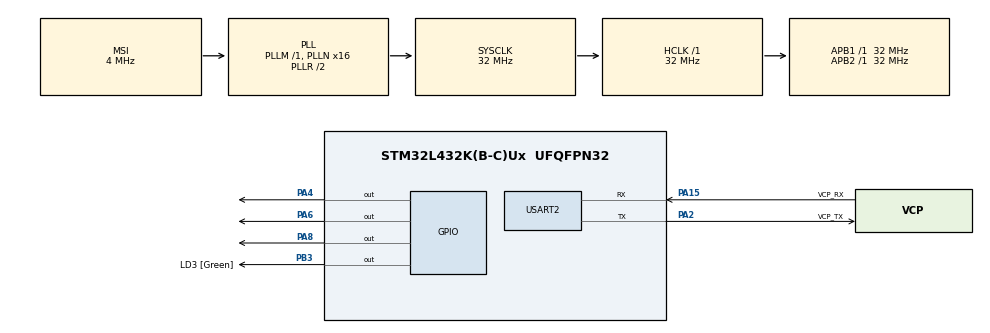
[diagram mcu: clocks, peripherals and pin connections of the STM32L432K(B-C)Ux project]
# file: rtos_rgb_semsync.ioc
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FREERTOS.BinarySemaphores01=sem_RGBLED_sync,Dynamic,NULL
FREERTOS.Tasks01=task_blink_r,24,128,blink_red,Default,NULL,Dynamic,NULL,NULL;task_blink_g,25,128,blink_green,Default,NULL,Dynamic,NULL,NULL;task_blink_b,26,128,blink_blue,Default,NULL,Dynamic,NULL,NULL
FREERTOS.configENABLE_FPU=1
FREERTOS.configUSE_NEWLIB_REENTRANT=1
Mcu.Family=STM32L4
Mcu.Name=STM32L432K(B-C)Ux
Mcu.Package=UFQFPN32
NVIC.PriorityGroup=NVIC_PRIORITYGROUP_4
NVIC.TIM6_DAC_IRQn=true\:15\:0\:false\:false\:true\:false\:false\:true
NVIC.TimeBase=TIM6_DAC_IRQn
NVIC.TimeBaseIP=TIM6
NVIC.USART2_IRQn=true\:5\:0\:false\:false\:true\:true\:true\:true
PA0.GPIO_Label=MCO [High speed clock in]
PA0.Signal=RCC_CK_IN
PA13\ (JTMS-SWDIO).GPIO_Label=SWDIO
PA13\ (JTMS-SWDIO).Signal=SYS_JTMS-SWDIO
PA14\ (JTCK-SWCLK).GPIO_Label=SWCLK
PA14\ (JTCK-SWCLK).Signal=SYS_JTCK-SWCLK
PA15\ (JTDI).GPIO_Label=VCP_RX
PA15\ (JTDI).Mode=Asynchronous
PA15\ (JTDI).Signal=USART2_RX
PA2.GPIO_Label=VCP_TX
PA2.Mode=Asynchronous
PA2.Signal=USART2_TX
PA4.Signal=GPIO_Output
PA6.Signal=GPIO_Output
PA8.Signal=GPIO_Output
PB3\ (JTDO-TRACESWO).GPIO_Label=LD3 [Green]
PB3\ (JTDO-TRACESWO).Signal=GPIO_Output
PC14-OSC32_IN\ (PC14).Signal=RCC_OSC32_IN
PC15-OSC32_OUT\ (PC15).Signal=RCC_OSC32_OUT
ProjectManager.HeapSize=0x200
ProjectManager.StackSize=0x400
ProjectManager.TargetToolchain=STM32CubeIDE
RCC.AHBFreq_Value=32000000
RCC.APB1Freq_Value=32000000
RCC.APB1TimFreq_Value=32000000
RCC.APB2Freq_Value=32000000
RCC.APB2TimFreq_Value=32000000
RCC.CortexFreq_Value=32000000
RCC.HCLKFreq_Value=32000000
RCC.HSE_VALUE=8000000
RCC.HSI16_VALUE=16000000
RCC.HSI48_VALUE=48000000
RCC.HSI_VALUE=16000000
RCC.LSE_VALUE=32768
RCC.MSI_VALUE=4000000
RCC.PLLMUL=RCC_PLLMUL_4
RCC.PLLN=16
RCC.SYSCLKFreq_VALUE=32000000
RCC.SYSCLKSource=RCC_SYSCLKSOURCE_PLLCLK
RCC.VCOOutputFreq_Value=64000000
USART2.VirtualMode-Asynchronous=VM_ASYNC
VP_FREERTOS_VS_CMSIS_V2.Mode=CMSIS_V2
VP_SYS_VS_tim6.Mode=TIM6
board=NUCLEO-L432KC

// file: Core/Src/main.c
/* USER CODE BEGIN Header */
/**
 ******************************************************************************
 * @file           : main.c
 * @brief          : Main program body
 ******************************************************************************
 * @attention
 *
 * Copyright (c) 2022 STMicroelectronics.
 * All rights reserved.
 *
 * This software is licensed under terms that can be found in the LICENSE file
 * in the root directory of this software component.
 * If no LICENSE file comes with this software, it is provided AS-IS.
 *
 ******************************************************************************
 */
/* USER CODE END Header */
#include "main.h"
#include "cmsis_os.h"

/* USER CODE BEGIN PD */
#define USE_SEM
/* USER CODE END PD */

UART_HandleTypeDef huart2;

/* Definitions for task_blink_r */
osThreadId_t task_blink_rHandle;
const osThreadAttr_t task_blink_r_attributes = {
    .name = "task_blink_r",
    .stack_size = 128 * 4,
    .priority = (osPriority_t) osPriorityNormal,
};
/* Definitions for task_blink_g */
osThreadId_t task_blink_gHandle;
const osThreadAttr_t task_blink_g_attributes = {
    .name = "task_blink_g",
    .stack_size = 128 * 4,
    .priority = (osPriority_t) osPriorityNormal1,
};
/* Definitions for task_blink_b */
osThreadId_t task_blink_bHandle;
const osThreadAttr_t task_blink_b_attributes = {
    .name = "task_blink_b",
    .stack_size = 128 * 4,
    .priority = (osPriority_t) osPriorityNormal2,
};
/* Definitions for sem_RGBLED_sync */
osSemaphoreId_t sem_RGBLED_syncHandle;
const osSemaphoreAttr_t sem_RGBLED_sync_attributes = {
    .name = "sem_RGBLED_sync"
};

void SystemClock_Config(void);
static void MX_GPIO_Init(void);
static void MX_USART2_UART_Init(void);
void blink_red(void *argument);
void blink_green(void *argument);
void blink_blue(void *argument);

int main(void)
{

  /* MCU Configuration--------------------------------------------------------*/

  /* Reset of all peripherals, Initializes the Flash interface and the Systick. */
  HAL_Init();

  /* Configure the system clock */
  SystemClock_Config();

  /* Initialize all configured peripherals */
  MX_GPIO_Init();
  MX_USART2_UART_Init();
  /* USER CODE BEGIN 2 */
  HAL_GPIO_WritePin(GPIOA,GPIO_PIN_6,GPIO_PIN_SET);
  HAL_GPIO_WritePin(GPIOA,GPIO_PIN_8,GPIO_PIN_SET);
  HAL_GPIO_WritePin(GPIOA,GPIO_PIN_4,GPIO_PIN_SET);
  /* USER CODE END 2 */

  /* Init scheduler */
  osKernelInitialize();

  /* Create the semaphores(s) */
  /* creation of sem_RGBLED_sync */
  sem_RGBLED_syncHandle = osSemaphoreNew(1, 1, &sem_RGBLED_sync_attributes);

  /* Create the thread(s) */
  /* creation of task_blink_r */
  task_blink_rHandle = osThreadNew(blink_red, NULL, &task_blink_r_attributes);

  /* creation of task_blink_g */
  task_blink_gHandle = osThreadNew(blink_green, NULL, &task_blink_g_attributes);

  /* creation of task_blink_b */
  task_blink_bHandle = osThreadNew(blink_blue, NULL, &task_blink_b_attributes);

  /* Start scheduler */
  osKernelStart();

  /* We should never get here as control is now taken by the scheduler */
  /* Infinite loop */
  while (1)
  {

  }
}

void SystemClock_Config(void)
{
  RCC_OscInitTypeDef RCC_OscInitStruct = {0};
  RCC_ClkInitTypeDef RCC_ClkInitStruct = {0};

  /** Configure the main internal regulator output voltage
   */
  if (HAL_PWREx_ControlVoltageScaling(PWR_REGULATOR_VOLTAGE_SCALE1) != HAL_OK)
  {
    Error_Handler();
  }
  /** Initializes the RCC Oscillators according to the specified parameters
   * in the RCC_OscInitTypeDef structure.
   */
  RCC_OscInitStruct.OscillatorType = RCC_OSCILLATORTYPE_MSI;
  RCC_OscInitStruct.MSIState = RCC_MSI_ON;
  RCC_OscInitStruct.MSICalibrationValue = 0;
  RCC_OscInitStruct.MSIClockRange = RCC_MSIRANGE_6;
  RCC_OscInitStruct.PLL.PLLState = RCC_PLL_ON;
  RCC_OscInitStruct.PLL.PLLSource = RCC_PLLSOURCE_MSI;
  RCC_OscInitStruct.PLL.PLLM = 1;
  RCC_OscInitStruct.PLL.PLLN = 16;
  RCC_OscInitStruct.PLL.PLLP = RCC_PLLP_DIV7;
  RCC_OscInitStruct.PLL.PLLQ = RCC_PLLQ_DIV2;
  RCC_OscInitStruct.PLL.PLLR = RCC_PLLR_DIV2;
  if (HAL_RCC_OscConfig(&RCC_OscInitStruct) != HAL_OK)
  {
    Error_Handler();
  }
  /** Initializes the CPU, AHB and APB buses clocks
   */
  RCC_ClkInitStruct.ClockType = RCC_CLOCKTYPE_HCLK|RCC_CLOCKTYPE_SYSCLK
      |RCC_CLOCKTYPE_PCLK1|RCC_CLOCKTYPE_PCLK2;
  RCC_ClkInitStruct.SYSCLKSource = RCC_SYSCLKSOURCE_PLLCLK;
  RCC_ClkInitStruct.AHBCLKDivider = RCC_SYSCLK_DIV1;
  RCC_ClkInitStruct.APB1CLKDivider = RCC_HCLK_DIV1;
  RCC_ClkInitStruct.APB2CLKDivider = RCC_HCLK_DIV1;

  if (HAL_RCC_ClockConfig(&RCC_ClkInitStruct, FLASH_LATENCY_1) != HAL_OK)
  {
    Error_Handler();
  }
}

static void MX_USART2_UART_Init(void)
{

  huart2.Instance = USART2;
  huart2.Init.BaudRate = 115200;
  huart2.Init.WordLength = UART_WORDLENGTH_8B;
  huart2.Init.StopBits = UART_STOPBITS_1;
  huart2.Init.Parity = UART_PARITY_NONE;
  huart2.Init.Mode = UART_MODE_TX_RX;
  huart2.Init.HwFlowCtl = UART_HWCONTROL_NONE;
  huart2.Init.OverSampling = UART_OVERSAMPLING_16;
  huart2.Init.OneBitSampling = UART_ONE_BIT_SAMPLE_DISABLE;
  huart2.AdvancedInit.AdvFeatureInit = UART_ADVFEATURE_NO_INIT;
  if (HAL_UART_Init(&huart2) != HAL_OK)
  {
    Error_Handler();
  }

}

static void MX_GPIO_Init(void)
{
  GPIO_InitTypeDef GPIO_InitStruct = {0};

  /* GPIO Ports Clock Enable */
  __HAL_RCC_GPIOC_CLK_ENABLE();
  __HAL_RCC_GPIOA_CLK_ENABLE();
  __HAL_RCC_GPIOB_CLK_ENABLE();

  /*Configure GPIO pin Output Level */
  HAL_GPIO_WritePin(GPIOA, GPIO_PIN_4|GPIO_PIN_6|GPIO_PIN_8, GPIO_PIN_RESET);

  /*Configure GPIO pin Output Level */
  HAL_GPIO_WritePin(LD3_GPIO_Port, LD3_Pin, GPIO_PIN_RESET);

  /*Configure GPIO pins : PA4 PA6 PA8 */
  GPIO_InitStruct.Pin = GPIO_PIN_4|GPIO_PIN_6|GPIO_PIN_8;
  GPIO_InitStruct.Mode = GPIO_MODE_OUTPUT_PP;
  GPIO_InitStruct.Pull = GPIO_NOPULL;
  GPIO_InitStruct.Speed = GPIO_SPEED_FREQ_LOW;
  HAL_GPIO_Init(GPIOA, &GPIO_InitStruct);

  /*Configure GPIO pin : LD3_Pin */
  GPIO_InitStruct.Pin = LD3_Pin;
  GPIO_InitStruct.Mode = GPIO_MODE_OUTPUT_PP;
  GPIO_InitStruct.Pull = GPIO_NOPULL;
  GPIO_InitStruct.Speed = GPIO_SPEED_FREQ_LOW;
  HAL_GPIO_Init(LD3_GPIO_Port, &GPIO_InitStruct);

}

void blink_red(void *argument)
{
  /* USER CODE BEGIN 5 */
  /* Infinite loop */
  for(;;)
  {
#ifdef USE_SEM
    if(osSemaphoreAcquire(sem_RGBLED_syncHandle,100)==osOK)
    {
#endif
      HAL_GPIO_WritePin(GPIOA,GPIO_PIN_6,GPIO_PIN_RESET);
      osDelay(2000);
      HAL_GPIO_WritePin(GPIOA,GPIO_PIN_6,GPIO_PIN_SET);
      osDelay(2000);
#ifdef USE_SEM
      osSemaphoreRelease(sem_RGBLED_syncHandle);
    }
#endif
    osDelay(100);
  }
  /* USER CODE END 5 */
}

void blink_green(void *argument)
{
  /* USER CODE BEGIN blink_green */
  /* Infinite loop */
  for(;;)
  {
#ifdef USE_SEM
    if(osSemaphoreAcquire(sem_RGBLED_syncHandle,100)==osOK)
    {
#endif
      HAL_GPIO_WritePin(GPIOA,GPIO_PIN_8,GPIO_PIN_RESET);
      osDelay(3000);
      HAL_GPIO_WritePin(GPIOA,GPIO_PIN_8,GPIO_PIN_SET);
      osDelay(3000);
#ifdef USE_SEM
      osSemaphoreRelease(sem_RGBLED_syncHandle);
    }
#endif
    //osDelay(100);
  }
  /* USER CODE END blink_green */
}

void blink_blue(void *argument)
{
  /* USER CODE BEGIN blink_blue */
  /* Infinite loop */
  for(;;)
  {
#ifdef USE_SEM
    if(osSemaphoreAcquire(sem_RGBLED_syncHandle,175)==osOK)
    {
#endif
      HAL_GPIO_WritePin(GPIOA,GPIO_PIN_4,GPIO_PIN_RESET);
      osDelay(5000);
      HAL_GPIO_WritePin(GPIOA,GPIO_PIN_4,GPIO_PIN_SET);
      osDelay(5000);
#ifdef USE_SEM
      osSemaphoreRelease(sem_RGBLED_syncHandle);
    }
#endif
    osDelay(100);
  }
  /* USER CODE END blink_blue */
}

void HAL_TIM_PeriodElapsedCallback(TIM_HandleTypeDef *htim)
{
  if (htim->Instance == TIM6) {
    HAL_IncTick();
  }
}

void Error_Handler(void)
{
  __disable_irq();
  while (1)
  {
  }
}
